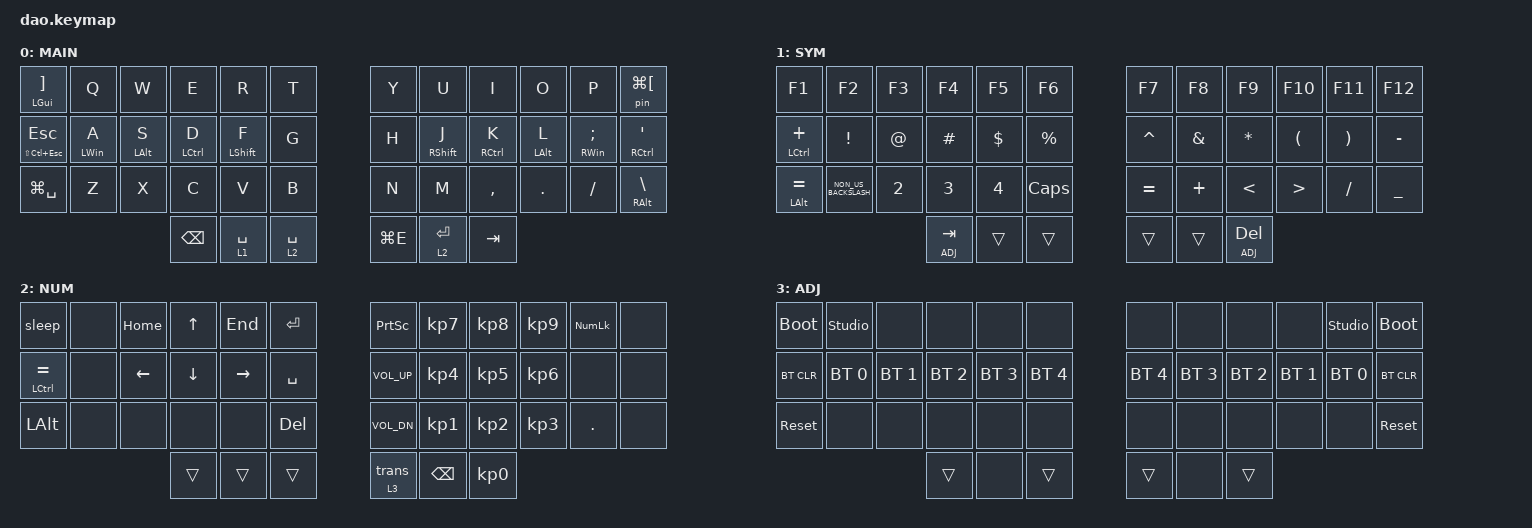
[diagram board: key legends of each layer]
/*
 * Copyright (c) 2021 Rafael Yumagulov
 *
 * SPDX-License-Identifier: MIT
 */

#include <behaviors.dtsi>
#include <dt-bindings/zmk/bt.h>
#include <dt-bindings/zmk/keys.h>

#define DEF 0
#define LWR 1
#define RSE 2
#define ADJ 3

&lt {
    quick_tap_ms = <200>;
    tapping-term-ms = <200>;
};

&mt {
    quick_tap_ms = <200>;
    tapping-term-ms = <200>;
    require-prior-idle-ms = <150>;
    flavor = "balanced";
};

/ {
    chosen {
        zmk,physical_layout = &dao_crkbd_layout;

        // zmk,physical_layout = &dao_full_layout;
    };
};

/ {
    macros {
        pin: pin {
            compatible = "zmk,behavior-macro";
            #binding-cells = <0>;
            bindings = <&kp KP_NUMBER_2 &kp KP_NUMBER_0 &kp KP_NUMBER_3 &kp KP_NUMBER_0>;
            label = "PIN";
        };

        sleep: sleep {
            compatible = "zmk,behavior-macro";
            #binding-cells = <0>;
            bindings =
                <&kp LG(X)>,
                <&macro_wait_time 150>,
                <&kp UP>,
                <&macro_wait_time 150>,
                <&kp UP>,
                <&macro_wait_time 150>,
                <&kp RIGHT>,
                <&macro_tap_time 150>,
                <&kp DOWN>,
                <&macro_tap_time 80>,
                <&kp ENTER>;

            label = "SLEEP";
        };
    };

    behaviors {
        pin_b: pin_b {
            compatible = "zmk,behavior-hold-tap";
            label = "PIN_B";
            bindings = <&pin>, <&kp>;

            #binding-cells = <2>;
            tapping-term-ms = <150>;
        };

        adj: adj {
            compatible = "zmk,behavior-hold-tap";
            label = "ADJ";
            bindings = <&mo>, <&trans>;

            #binding-cells = <2>;
            tapping-term-ms = <200>;
            require-prior-idle-ms = <0>;
        };
    };

    keymap {
        compatible = "zmk,keymap";

        default_layer {
            display-name = "MAIN";
            bindings = <
&mt LGUI RBKT           &kp Q           &kp W       &kp E               &kp R        &kp T        &kp Y      &kp U         &kp I        &kp O       &kp P                    &pin_b 0 LG(LEFT_BRACKET)
&mt LS(LC(ESCAPE)) ESC  &mt LEFT_WIN A  &mt LALT S  &mt LEFT_CONTROL D  &mt LSHFT F  &kp G        &kp H      &mt RSHIFT J  &mt RCTRL K  &mt LALT L  &mt RIGHT_WIN SEMICOLON  &mt RCTRL SQT
&kp LG(SPACE)           &kp Z           &kp X       &kp C               &kp V        &kp B        &kp N      &kp M         &kp COMMA    &kp DOT     &kp FSLH                 &mt RALT BSLH
                                                    &kp BACKSPACE       &lt 1 SPACE  &lt 2 SPACE  &kp LG(E)  &lt 2 ENTER   &kp TAB
            >;
        };

        lower_layer {
            display-name = "SYM";
            bindings = <
&kp F1          &kp F2                &kp F3  &kp F4       &kp F5    &kp F6     &kp F7     &kp F8    &kp F9         &kp F10           &kp F11    &kp F12
&mt LCTRL PLUS  &kp EXCL              &kp AT  &kp HASH     &kp DLLR  &kp PRCNT  &kp CARET  &kp AMPS  &kp STAR       &kp LPAR          &kp RPAR   &kp MINUS
&mt LALT EQUAL  &kp NON_US_BACKSLASH  &kp N2  &kp N3       &kp N4    &kp CAPS   &kp EQUAL  &kp PLUS  &kp LESS_THAN  &kp GREATER_THAN  &kp SLASH  &kp UNDERSCORE
                                              &lt ADJ TAB  &trans    &trans     &trans     &trans    &lt ADJ DEL
            >;
        };

        raise_layer {
            display-name = "NUM";
            bindings = <
&sleep           &none  &kp HOME  &kp UP    &kp END    &kp ENTER   &kp PRINTSCREEN  &kp KP_NUMBER_7  &kp KP_NUMBER_8  &kp KP_NUMBER_9  &kp KP_NUMLOCK  &none
&mt LCTRL EQUAL  &none  &kp LEFT  &kp DOWN  &kp RIGHT  &kp SPACE   &kp C_VOLUME_UP  &kp KP_NUMBER_4  &kp KP_NUMBER_5  &kp KP_NUMBER_6  &none           &none
&kp LALT         &none  &none     &none     &none      &kp DELETE  &kp C_VOL_DN     &kp KP_NUMBER_1  &kp KP_NUMBER_2  &kp KP_NUMBER_3  &kp DOT         &none
                                  &trans    &trans     &trans      &adj 3 0         &kp BACKSPACE    &kp KP_NUMBER_0
            >;
        };

        adjust_layer {
            display-name = "ADJ";
            bindings = <
&bootloader  &studio_unlock  &none         &none         &none         &none         &none         &none         &none         &none         &studio_unlock  &bootloader
&bt BT_CLR   &bt BT_SEL 0    &bt BT_SEL 1  &bt BT_SEL 2  &bt BT_SEL 3  &bt BT_SEL 4  &bt BT_SEL 4  &bt BT_SEL 3  &bt BT_SEL 2  &bt BT_SEL 1  &bt BT_SEL 0    &bt BT_CLR
&sys_reset   &none           &none         &none         &none         &none         &none         &none         &none         &none         &none           &sys_reset
                                           &trans        &none         &trans        &trans        &none         &trans
            >;
        };
    };
};
